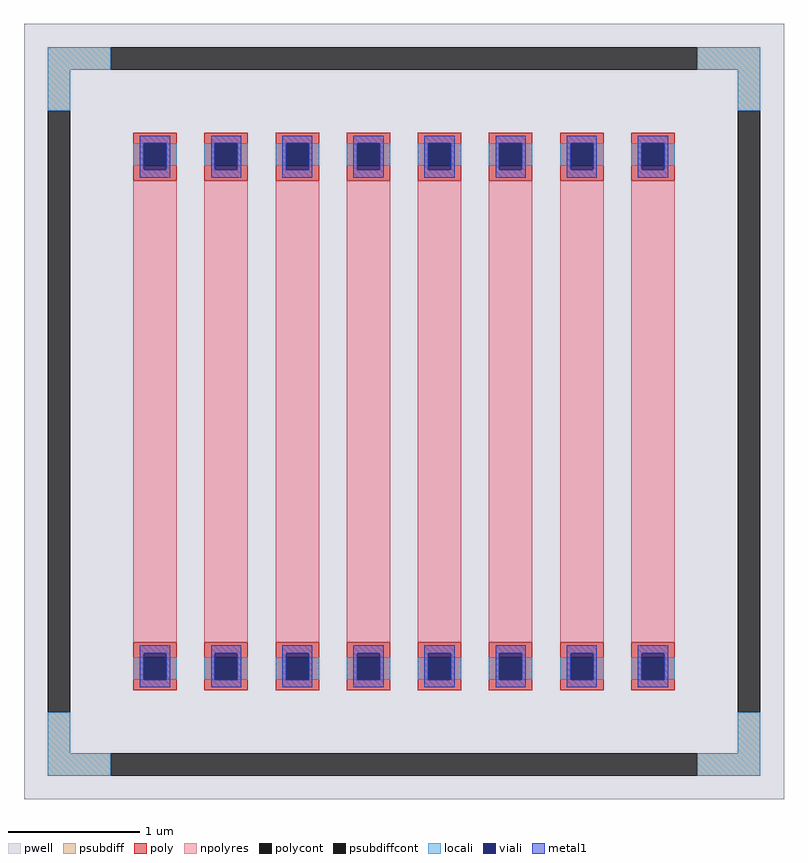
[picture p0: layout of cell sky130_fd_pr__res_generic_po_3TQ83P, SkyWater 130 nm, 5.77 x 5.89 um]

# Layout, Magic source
magic
tech sky130B
magscale 1 2
<< pwell >>
rect -577 -589 577 589
<< psubdiff >>
rect -541 519 -445 553
rect 445 519 541 553
rect -541 457 -507 519
rect 507 457 541 519
rect -541 -519 -507 -457
rect 507 -519 541 -457
rect -541 -553 -445 -519
rect 445 -553 541 -519
<< psubdiffcont >>
rect -445 519 445 553
rect -541 -457 -507 457
rect 507 -457 541 457
rect -445 -553 445 -519
<< poly >>
rect -411 407 -345 423
rect -411 373 -395 407
rect -361 373 -345 407
rect -411 350 -345 373
rect -411 -373 -345 -350
rect -411 -407 -395 -373
rect -361 -407 -345 -373
rect -411 -423 -345 -407
rect -303 407 -237 423
rect -303 373 -287 407
rect -253 373 -237 407
rect -303 350 -237 373
rect -303 -373 -237 -350
rect -303 -407 -287 -373
rect -253 -407 -237 -373
rect -303 -423 -237 -407
rect -195 407 -129 423
rect -195 373 -179 407
rect -145 373 -129 407
rect -195 350 -129 373
rect -195 -373 -129 -350
rect -195 -407 -179 -373
rect -145 -407 -129 -373
rect -195 -423 -129 -407
rect -87 407 -21 423
rect -87 373 -71 407
rect -37 373 -21 407
rect -87 350 -21 373
rect -87 -373 -21 -350
rect -87 -407 -71 -373
rect -37 -407 -21 -373
rect -87 -423 -21 -407
rect 21 407 87 423
rect 21 373 37 407
rect 71 373 87 407
rect 21 350 87 373
rect 21 -373 87 -350
rect 21 -407 37 -373
rect 71 -407 87 -373
rect 21 -423 87 -407
rect 129 407 195 423
rect 129 373 145 407
rect 179 373 195 407
rect 129 350 195 373
rect 129 -373 195 -350
rect 129 -407 145 -373
rect 179 -407 195 -373
rect 129 -423 195 -407
rect 237 407 303 423
rect 237 373 253 407
rect 287 373 303 407
rect 237 350 303 373
rect 237 -373 303 -350
rect 237 -407 253 -373
rect 287 -407 303 -373
rect 237 -423 303 -407
rect 345 407 411 423
rect 345 373 361 407
rect 395 373 411 407
rect 345 350 411 373
rect 345 -373 411 -350
rect 345 -407 361 -373
rect 395 -407 411 -373
rect 345 -423 411 -407
<< polycont >>
rect -395 373 -361 407
rect -395 -407 -361 -373
rect -287 373 -253 407
rect -287 -407 -253 -373
rect -179 373 -145 407
rect -179 -407 -145 -373
rect -71 373 -37 407
rect -71 -407 -37 -373
rect 37 373 71 407
rect 37 -407 71 -373
rect 145 373 179 407
rect 145 -407 179 -373
rect 253 373 287 407
rect 253 -407 287 -373
rect 361 373 395 407
rect 361 -407 395 -373
<< npolyres >>
rect -411 -350 -345 350
rect -303 -350 -237 350
rect -195 -350 -129 350
rect -87 -350 -21 350
rect 21 -350 87 350
rect 129 -350 195 350
rect 237 -350 303 350
rect 345 -350 411 350
<< locali >>
rect -541 519 -445 553
rect 445 519 541 553
rect -541 457 -507 519
rect 507 457 541 519
rect -411 373 -395 407
rect -361 373 -345 407
rect -303 373 -287 407
rect -253 373 -237 407
rect -195 373 -179 407
rect -145 373 -129 407
rect -87 373 -71 407
rect -37 373 -21 407
rect 21 373 37 407
rect 71 373 87 407
rect 129 373 145 407
rect 179 373 195 407
rect 237 373 253 407
rect 287 373 303 407
rect 345 373 361 407
rect 395 373 411 407
rect -411 -407 -395 -373
rect -361 -407 -345 -373
rect -303 -407 -287 -373
rect -253 -407 -237 -373
rect -195 -407 -179 -373
rect -145 -407 -129 -373
rect -87 -407 -71 -373
rect -37 -407 -21 -373
rect 21 -407 37 -373
rect 71 -407 87 -373
rect 129 -407 145 -373
rect 179 -407 195 -373
rect 237 -407 253 -373
rect 287 -407 303 -373
rect 345 -407 361 -373
rect 395 -407 411 -373
rect -541 -519 -507 -457
rect 507 -519 541 -457
rect -541 -553 -445 -519
rect 445 -553 541 -519
<< viali >>
rect -395 373 -361 407
rect -287 373 -253 407
rect -179 373 -145 407
rect -71 373 -37 407
rect 37 373 71 407
rect 145 373 179 407
rect 253 373 287 407
rect 361 373 395 407
rect -395 367 -361 373
rect -287 367 -253 373
rect -179 367 -145 373
rect -71 367 -37 373
rect 37 367 71 373
rect 145 367 179 373
rect 253 367 287 373
rect 361 367 395 373
rect -395 -373 -361 -367
rect -287 -373 -253 -367
rect -179 -373 -145 -367
rect -71 -373 -37 -367
rect 37 -373 71 -367
rect 145 -373 179 -367
rect 253 -373 287 -367
rect 361 -373 395 -367
rect -395 -407 -361 -373
rect -287 -407 -253 -373
rect -179 -407 -145 -373
rect -71 -407 -37 -373
rect 37 -407 71 -373
rect 145 -407 179 -373
rect 253 -407 287 -373
rect 361 -407 395 -373
<< metal1 >>
rect -401 407 -355 419
rect -401 367 -395 407
rect -361 367 -355 407
rect -401 355 -355 367
rect -293 407 -247 419
rect -293 367 -287 407
rect -253 367 -247 407
rect -293 355 -247 367
rect -185 407 -139 419
rect -185 367 -179 407
rect -145 367 -139 407
rect -185 355 -139 367
rect -77 407 -31 419
rect -77 367 -71 407
rect -37 367 -31 407
rect -77 355 -31 367
rect 31 407 77 419
rect 31 367 37 407
rect 71 367 77 407
rect 31 355 77 367
rect 139 407 185 419
rect 139 367 145 407
rect 179 367 185 407
rect 139 355 185 367
rect 247 407 293 419
rect 247 367 253 407
rect 287 367 293 407
rect 247 355 293 367
rect 355 407 401 419
rect 355 367 361 407
rect 395 367 401 407
rect 355 355 401 367
rect -401 -367 -355 -355
rect -401 -407 -395 -367
rect -361 -407 -355 -367
rect -401 -419 -355 -407
rect -293 -367 -247 -355
rect -293 -407 -287 -367
rect -253 -407 -247 -367
rect -293 -419 -247 -407
rect -185 -367 -139 -355
rect -185 -407 -179 -367
rect -145 -407 -139 -367
rect -185 -419 -139 -407
rect -77 -367 -31 -355
rect -77 -407 -71 -367
rect -37 -407 -31 -367
rect -77 -419 -31 -407
rect 31 -367 77 -355
rect 31 -407 37 -367
rect 71 -407 77 -367
rect 31 -419 77 -407
rect 139 -367 185 -355
rect 139 -407 145 -367
rect 179 -407 185 -367
rect 139 -419 185 -407
rect 247 -367 293 -355
rect 247 -407 253 -367
rect 287 -407 293 -367
rect 247 -419 293 -407
rect 355 -367 401 -355
rect 355 -407 361 -367
rect 395 -407 401 -367
rect 355 -419 401 -407
<< properties >>
string FIXED_BBOX -524 -536 524 536
string gencell sky130_fd_pr__res_generic_po
string library sky130
string parameters w 0.330 l 3.5 m 1 nx 8 wmin 0.330 lmin 1.650 rho 48.2 val 511.212 dummy 0 dw 0.0 term 0.0 sterm 0.0 caplen 0.4 snake 0 guard 1 glc 1 grc 1 gtc 1 gbc 1 roverlap 0 endcov 100 full_metal 1 hv_guard 0 n_guard 0 vias 1 viagb 0 viagt 0 viagl 0 viagr 0
<< end >>
